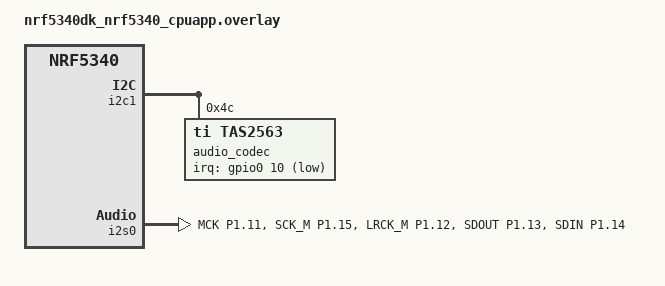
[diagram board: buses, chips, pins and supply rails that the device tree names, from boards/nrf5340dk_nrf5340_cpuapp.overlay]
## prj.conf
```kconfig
CONFIG_I2S=y
CONFIG_DMA=y
CONFIG_I2C=y
CONFIG_AUDIO=y
CONFIG_AUDIO_CODEC=y
CONFIG_I2S_INIT_BUFFERS=2
CONFIG_EXTRA_BLOCKS=2
CONFIG_SHELL=y
CONFIG_DEVICE_SHELL=y
CONFIG_I2C_SHELL=y
```

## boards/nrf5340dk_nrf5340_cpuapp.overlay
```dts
/ {
        aliases {
                i2s-codec-tx = &i2s0;
        };
};

&pinctrl {


        i2s0_default_alt: i2s0_default_alt {
                group1 {
                        psels = <NRF_PSEL(I2S_MCK, 1, 11)>,
                        	<NRF_PSEL(I2S_SCK_M, 1, 15)>,
                                <NRF_PSEL(I2S_LRCK_M, 1, 12)>,
                                <NRF_PSEL(I2S_SDOUT, 1, 13)>,
                                <NRF_PSEL(I2S_SDIN, 1, 14)>;
                };
        };

};

&i2c1 {
        status = "okay";

        audio_codec: tas2563@4c {
                compatible = "ti,tas2563";
                reg = <0x4c>;
		irq-gpios = <&gpio0 10 GPIO_ACTIVE_LOW>;
                status = "okay";
        };
};

&i2s0 {
        status = "okay";
        pinctrl-0 = <&i2s0_default_alt>;
        pinctrl-names = "default";
//	clock-source = "ACLK";
};
/*
&clock {
	hfclkaudio-frequency = <1536000>;
};
*/
```

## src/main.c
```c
#if 0
/*
 * Copyright 2024-2025 NXP
 *
 * SPDX-License-Identifier: Apache-2.0
 */

#include <zephyr/kernel.h>
#include <zephyr/sys/printk.h>
#include <zephyr/audio/dmic.h>
#include <zephyr/drivers/i2s.h>
#include <zephyr/audio/codec.h>
#include <zephyr/toolchain.h>
#include <string.h>

#ifndef CONFIG_USE_DMIC
#include "song.h"
#endif

#define I2S_CODEC_TX DT_ALIAS(i2s_codec_tx)

#define SAMPLE_FREQUENCY CONFIG_SAMPLE_FREQ
#define SAMPLE_BIT_WIDTH CONFIG_SAMPLE_WIDTH
#define BYTES_PER_SAMPLE CONFIG_BYTES_PER_SAMPLE
#if CONFIG_USE_DMIC
#define NUMBER_OF_CHANNELS CONFIG_DMIC_CHANNELS
#else
#define NUMBER_OF_CHANNELS (2U)
#endif
/* Such block length provides an echo with the delay of 100 ms. */
#define SAMPLES_PER_BLOCK ((SAMPLE_FREQUENCY / 10) * NUMBER_OF_CHANNELS)
#define INITIAL_BLOCKS    CONFIG_I2S_INIT_BUFFERS
#define TIMEOUT           (2000U)

#define BLOCK_SIZE  (BYTES_PER_SAMPLE * SAMPLES_PER_BLOCK)
#define BLOCK_COUNT (INITIAL_BLOCKS + CONFIG_EXTRA_BLOCKS)

K_MEM_SLAB_DEFINE_IN_SECT_STATIC(mem_slab, __nocache, BLOCK_SIZE, BLOCK_COUNT, 4);

static bool configure_tx_streams(const struct device *i2s_dev, struct i2s_config *config)
{
	int ret;

	ret = i2s_configure(i2s_dev, I2S_DIR_TX, config);
	if (ret < 0) {
		printk("Failed to configure codec stream: %d\n", ret);
		return false;
	}

	return true;
}

static bool trigger_command(const struct device *i2s_dev_codec, enum i2s_trigger_cmd cmd)
{
	int ret;

	ret = i2s_trigger(i2s_dev_codec, I2S_DIR_TX, cmd);
	if (ret < 0) {
		printk("Failed to trigger command %d on TX: %d\n", cmd, ret);
		return false;
	}

	return true;
}

int main(void)
{
	const struct device *const i2s_dev_codec = DEVICE_DT_GET(I2S_CODEC_TX);
#if CONFIG_USE_DMIC
	const struct device *const dmic_dev = DEVICE_DT_GET(DT_NODELABEL(dmic_dev));
#endif
	const struct device *const codec_dev = DEVICE_DT_GET(DT_NODELABEL(audio_codec));
	struct i2s_config config;
	struct audio_codec_cfg audio_cfg;
	int ret = 0;

#if CONFIG_USE_DMIC
	struct pcm_stream_cfg stream = {
		.pcm_width = SAMPLE_BIT_WIDTH,
		.mem_slab = &mem_slab,
	};
	struct dmic_cfg cfg = {
		.io = {
			/* These fields can be used to limit the PDM clock
			 * configurations that the driver is allowed to use
			 * to those supported by the microphone.
			 */
			.min_pdm_clk_freq = 1000000,
			.max_pdm_clk_freq = 3500000,
			.min_pdm_clk_dc   = 40,
			.max_pdm_clk_dc   = 60,
		},
		.streams = &stream,
		.channel = {
			.req_num_streams = 1,
		},
	};
#endif
	printk("codec sample\n");

#if CONFIG_USE_DMIC
	if (!device_is_ready(dmic_dev)) {
		printk("%s is not ready", dmic_dev->name);
		return 0;
	}
#endif

	if (!device_is_ready(i2s_dev_codec)) {
		printk("%s is not ready\n", i2s_dev_codec->name);
		return 0;
	}

	if (!device_is_ready(codec_dev)) {
		printk("%s is not ready", codec_dev->name);
		return 0;
	}
	audio_cfg.dai_route = AUDIO_ROUTE_PLAYBACK;
	audio_cfg.dai_type = AUDIO_DAI_TYPE_I2S;
	audio_cfg.dai_cfg.i2s.word_size = SAMPLE_BIT_WIDTH;
	audio_cfg.dai_cfg.i2s.channels = 2;
	audio_cfg.dai_cfg.i2s.format = I2S_FMT_DATA_FORMAT_I2S;
#ifdef CONFIG_USE_CODEC_CLOCK
	audio_cfg.dai_cfg.i2s.options = I2S_OPT_FRAME_CLK_CONTROLLER | I2S_OPT_BIT_CLK_CONTROLLER;
#else
	audio_cfg.dai_cfg.i2s.options = I2S_OPT_FRAME_CLK_TARGET | I2S_OPT_BIT_CLK_TARGET;
#endif
	audio_cfg.dai_cfg.i2s.frame_clk_freq = SAMPLE_FREQUENCY;
	audio_cfg.dai_cfg.i2s.mem_slab = &mem_slab;
	audio_cfg.dai_cfg.i2s.block_size = BLOCK_SIZE;
	audio_codec_configure(codec_dev, &audio_cfg);
	k_msleep(1000);

#if CONFIG_USE_DMIC
	cfg.channel.req_num_chan = 2;
	cfg.channel.req_chan_map_lo = dmic_build_channel_map(0, 0, PDM_CHAN_LEFT) |
				      dmic_build_channel_map(1, 0, PDM_CHAN_RIGHT);
	cfg.streams[0].pcm_rate = SAMPLE_FREQUENCY;
	cfg.streams[0].block_size = BLOCK_SIZE;

	printk("PCM output rate: %u, channels: %u\n", cfg.streams[0].pcm_rate,
	       cfg.channel.req_num_chan);

	ret = dmic_configure(dmic_dev, &cfg);
	if (ret < 0) {
		printk("Failed to configure the driver: %d", ret);
		return ret;
	}
#endif

	config.word_size = SAMPLE_BIT_WIDTH;
	config.channels = NUMBER_OF_CHANNELS;
	config.format = I2S_FMT_DATA_FORMAT_I2S;
#ifdef CONFIG_USE_CODEC_CLOCK
	config.options = I2S_OPT_BIT_CLK_TARGET | I2S_OPT_FRAME_CLK_TARGET;
#else
	config.options = I2S_OPT_BIT_CLK_CONTROLLER | I2S_OPT_FRAME_CLK_CONTROLLER;
#endif
	config.frame_clk_freq = SAMPLE_FREQUENCY;
	config.mem_slab = &mem_slab;
	config.block_size = BLOCK_SIZE;
	config.timeout = TIMEOUT;
	if (!configure_tx_streams(i2s_dev_codec, &config)) {
		printk("failure to config streams\n");
		return 0;
	}

	printk("start streams\n");
	for (;;) {
		bool started = false;
#if CONFIG_USE_DMIC
		ret = dmic_trigger(dmic_dev, DMIC_TRIGGER_START);
		if (ret < 0) {
			printk("START trigger failed: %d", ret);
			return ret;
		}
#endif
		while (1) {
			void *mem_block;
			uint32_t block_size = BLOCK_SIZE;
			int i;

			for (i = 0; i < CONFIG_I2S_INIT_BUFFERS; i++) {
#if CONFIG_USE_DMIC
				/* If using DMIC, use a buffer (memory slab) from dmic_read */
				ret = dmic_read(dmic_dev, 0, &mem_block, &block_size, TIMEOUT);
				if (ret < 0) {
					printk("read failed: %d", ret);
					break;
				}

				ret = i2s_write(i2s_dev_codec, mem_block, block_size);
#else
				/* If not using DMIC, play a sine wave 440Hz */

				BUILD_ASSERT(
					BLOCK_SIZE <= __16kHz16bit_stereo_sine_pcm_len,
					"BLOCK_SIZE is bigger than test sine wave buffer size."
				);
				mem_block = (void *)&__16kHz16bit_stereo_sine_pcm;

				ret = i2s_buf_write(i2s_dev_codec, mem_block, block_size);
#endif
				if (ret < 0) {
					printk("Failed to write data: %d\n", ret);
					break;
				}
			}
			if (ret < 0) {
				printk("error %d\n", ret);
				break;
			}
			if (!started) {
				i2s_trigger(i2s_dev_codec, I2S_DIR_TX, I2S_TRIGGER_START);
				started = true;
			}
		}
		if (!trigger_command(i2s_dev_codec, I2S_TRIGGER_DROP)) {
			printk("Send I2S trigger DRAIN failed: %d", ret);
			return 0;
		}
#if CONFIG_USE_DMIC
		ret = dmic_trigger(dmic_dev, DMIC_TRIGGER_STOP);
		if (ret < 0) {
			printk("STOP trigger failed: %d", ret);
			return 0;
		}
#endif
		printk("Streams stopped\n");
		return 0;
	}
}
#endif

#if 1
/*
 * Copyright (c) 2026 Linumiz
 */

#include <zephyr/kernel.h>
#include <zephyr/sys/printk.h>
#include <zephyr/drivers/i2c.h>
#include <zephyr/drivers/i2s.h>
#include <zephyr/audio/codec.h>
#include <zephyr/toolchain.h>

#include "song.h"   /* provides __16kHz_16bit_stereo_sine_pcm + _len */

#define I2S_CODEC_TX       DT_ALIAS(i2s_codec_tx)
#define SAMPLE_FREQUENCY   48000
#define SAMPLE_BIT_WIDTH   16U
#define NUMBER_OF_CHANNELS 2U

/* Keep this small (your i2s_infineon driver was failing with big blocks) */
#define BLOCK_SIZE         168U

#define TIMEOUT_MS         2000U

/* Provide enough slab blocks so the driver queue can stay fed */
#define BLOCK_COUNT        16

K_MEM_SLAB_DEFINE_IN_SECT_STATIC(mem_slab, __nocache, BLOCK_SIZE, BLOCK_COUNT, 4);

static int i2s_send_block_retry(const struct device *i2s_dev, void *mem_block, size_t block_size)
{
    int ret;

    do {
        ret = i2s_buf_write(i2s_dev, mem_block, block_size);
        if (ret == -EAGAIN) {
            /* TX queue full -> let ISR/DMA consume and retry */
            k_msleep(1);
        }
    } while (ret == -EAGAIN);

    return ret;
}

int main(void)
{
    const struct device *const i2s_dev  = DEVICE_DT_GET(I2S_CODEC_TX);

    struct i2s_config i2s_cfg = {0};
    int ret;
    const struct device *const codec_dev = DEVICE_DT_GET(DT_NODELABEL(audio_codec));
    struct audio_codec_cfg audio_cfg = {0};

    if (!device_is_ready(i2s_dev)) {
        printk("ERROR: %s not ready\n", i2s_dev->name);
        return -1;
    }
    if (!device_is_ready(codec_dev)) {
        printk("ERROR: codec not ready\n");
        return -1;
    }

    /* Codec setup (playback) */
    audio_cfg.dai_route = AUDIO_ROUTE_PLAYBACK;
    audio_cfg.dai_type  = AUDIO_DAI_TYPE_I2S;
    audio_cfg.dai_cfg.i2s.word_size      = SAMPLE_BIT_WIDTH;
    audio_cfg.dai_cfg.i2s.channels       = NUMBER_OF_CHANNELS;
    audio_cfg.dai_cfg.i2s.format         = I2S_FMT_DATA_FORMAT_I2S;

#ifdef CONFIG_USE_CODEC_CLOCK
    audio_cfg.dai_cfg.i2s.options        = I2S_OPT_FRAME_CLK_MASTER | I2S_OPT_BIT_CLK_MASTER;
#else
    audio_cfg.dai_cfg.i2s.options        = I2S_OPT_FRAME_CLK_SLAVE  | I2S_OPT_BIT_CLK_SLAVE;
#endif

    audio_cfg.dai_cfg.i2s.frame_clk_freq = SAMPLE_FREQUENCY;
    audio_cfg.dai_cfg.i2s.mem_slab       = &mem_slab;
    audio_cfg.dai_cfg.i2s.block_size     = BLOCK_SIZE;

   audio_codec_configure(codec_dev, &audio_cfg);
   audio_codec_start_output(codec_dev);
    /* I2S TX setup */
    i2s_cfg.word_size      = SAMPLE_BIT_WIDTH;
    i2s_cfg.channels       = NUMBER_OF_CHANNELS;
    i2s_cfg.format         = I2S_FMT_DATA_FORMAT_I2S;

#ifdef CONFIG_USE_CODEC_CLOCK
    /* Codec provides clocks, so MCU is slave */
    i2s_cfg.options        = I2S_OPT_BIT_CLK_SLAVE | I2S_OPT_FRAME_CLK_SLAVE;
#else
    /* MCU provides clocks */
    i2s_cfg.options        = I2S_OPT_BIT_CLK_MASTER | I2S_OPT_FRAME_CLK_MASTER;
#endif

    i2s_cfg.frame_clk_freq = SAMPLE_FREQUENCY;
    i2s_cfg.mem_slab       = &mem_slab;
    i2s_cfg.block_size     = BLOCK_SIZE;
    i2s_cfg.timeout        = TIMEOUT_MS;

    ret = i2s_configure(i2s_dev, I2S_DIR_TX, &i2s_cfg);
    if (ret < 0) {
        printk("ERROR: i2s_configure(TX) failed: %d\n", ret);
        return ret;
    }

    /* Prime the TX queue with a few blocks before START */
    size_t off = 0;
    const uint8_t *buf = __16kHz16bit_stereo_sine_pcm;
    const size_t len   = __16kHz16bit_stereo_sine_pcm_len;
    printf("length = %d \n", len);

    BUILD_ASSERT(BLOCK_SIZE <= __16kHz16bit_stereo_sine_pcm_len,
                 "BLOCK_SIZE bigger than sine buffer."); /* [file:16] pattern */

    for (int i = 0; i < 4; i++) {
        if (off + BLOCK_SIZE > len) {
            off = 0;
        }

        ret = i2s_send_block_retry(i2s_dev, (void *)&buf[off], BLOCK_SIZE);
        if (ret < 0) {
            printf("ERROR: prime i2s_buf_write failed: %d\n", ret);
            return ret;
        }
        off += BLOCK_SIZE;
    }

    ret = i2s_trigger(i2s_dev, I2S_DIR_TX, I2S_TRIGGER_START);
    if (ret < 0) {
        printf("ERROR: I2S_TRIGGER_START failed: %d\n", ret);
        return ret;
    }

    printf("Sine playback started (%u Hz, %u-bit, %u ch)\n",
           SAMPLE_FREQUENCY, SAMPLE_BIT_WIDTH, NUMBER_OF_CHANNELS);
    /* Continuous streaming loop */
    while (1) {
        if (off + BLOCK_SIZE > len) {
            off = 0;
        }
        ret = i2s_send_block_retry(i2s_dev, (void *)&buf[off], BLOCK_SIZE);
        if (ret < 0) {
            printf("ERROR: i2s_buf_write failed: %d\n", ret);
            break;
        }
        off += BLOCK_SIZE;
    }
    /* If you ever exit, stop TX cleanly */
    (void)i2s_trigger(i2s_dev, I2S_DIR_TX, I2S_TRIGGER_STOP);
    (void)i2s_trigger(i2s_dev, I2S_DIR_TX, I2S_TRIGGER_DROP);
    return 0;
}
#endif
```
